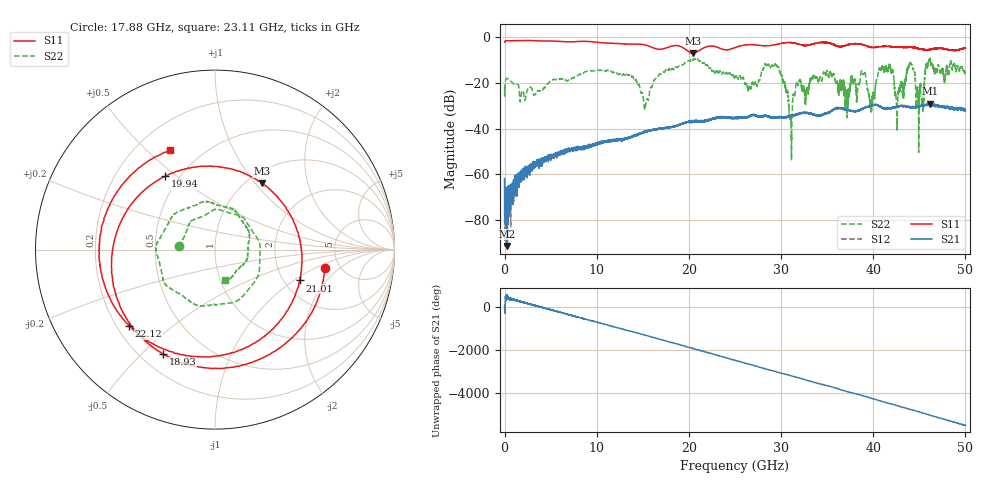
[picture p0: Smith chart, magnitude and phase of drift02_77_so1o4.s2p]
!Created with skrf (http://scikit-rf.org).
# Hz S RI R 50.0
!freq ReS11 ImS11 ReS21 ImS21 ReS12 ImS12 ReS22 ImS22
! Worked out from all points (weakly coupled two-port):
!   10001 points, 300 kHz to 50 GHz, reference 50 ohm
!   highest |S21| = -29.05 dB at 46.21 GHz (marker M1); lowest = -91.4 dB at 300.3 MHz (marker M2)
!   lowest |S11| = -6.9 dB at 20.44 GHz (marker M3), VSWR 2.64, Z = 58.3 + j53.9 ohm
!   |S11| at or under -10 dB: nowhere
!   |S22| runs from -53.6 to -9.1 dB; largest |S21 - S12| = 0.0032
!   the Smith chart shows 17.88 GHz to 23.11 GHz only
!   S11 on the Smith chart (normalised r, x): 17.88 GHz: 3.84, -1.25; 18.93 GHz: 0.29, -0.58; 19.94 GHz: 0.42, +0.45; 21.01 GHz: 2.43, -1.12; 22.12 GHz: 0.25, -0.36; 23.11 GHz: 0.34, +0.59
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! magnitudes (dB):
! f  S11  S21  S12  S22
! 300 kHz  -2.1  -62.0  -61.5  -21.5
! 300.3 MHz  -1.4  -91.4  -75.0  -18.0
! 8.335 GHz  -1.7  -47.9  -48.1  -15.7
! 15.33 GHz  -3.4  -41.5  -41.4  -29.1
! 16.67 GHz  -5.2  -40.1  -40.2  -17.0
! 17.88 GHz  -4.1  -39.3  -39.5  -13.8
! 18.93 GHz  -3.7  -38.5  -38.3  -12.5
! 19.94 GHz  -6.1  -37.1  -36.9  -10.1
! 20.44 GHz  -6.9  -36.8  -37.1  -10.0
! 21.01 GHz  -6.0  -36.7  -36.7  -9.8
! 22.12 GHz  -3.9  -36.2  -36.3  -13.0
! 23.11 GHz  -4.3  -35.3  -35.2  -15.1
! 25 GHz  -4.5  -35.2  -35.5  -17.6
! 29.51 GHz  -3.1  -34.9  -35.3  -12.5
! 31.03 GHz  -2.3  -34.3  -34.7  -34.1
! 33.34 GHz  -3.0  -33.5  -33.4  -18.2
! 39.74 GHz  -4.4  -29.9  -30.2  -31.4
! 41.67 GHz  -3.9  -31.0  -31.2  -13.1
! 44.16 GHz  -4.2  -30.8  -30.8  -11.8
! 44.85 GHz  -4.8  -30.1  -30.2  -25.1
! 46.21 GHz  -5.3  -29.1  -29.1  -10.3
! 50 GHz  -4.7  -32.2  -31.8  -16.1
